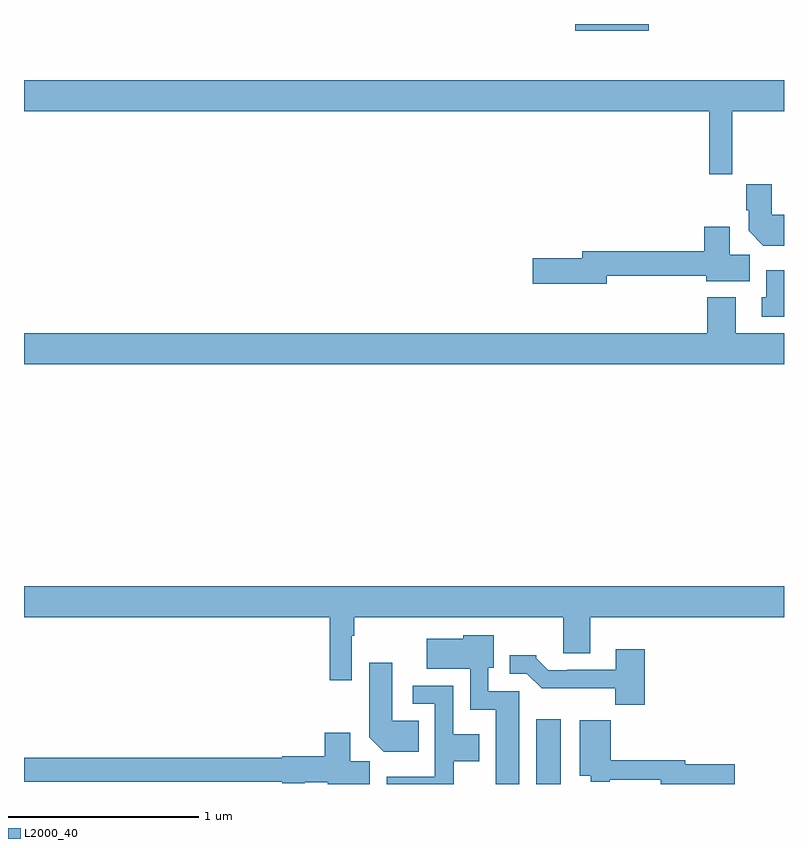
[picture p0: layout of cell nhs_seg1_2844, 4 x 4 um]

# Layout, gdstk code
import gdstk
lib = gdstk.Library(unit=1e-6, precision=1e-09)
def R(c, l, rs):  # rectangles x0, y0, x1, y1
    for r in rs: c.add(gdstk.rectangle(r[:2], r[2:], *l))
def P(c, l, *ps):  # polygons
    for p in ps: c.add(gdstk.Polygon(p, *l))
L2000_40 = (2000, 40)

nhs_seg1_2844 = lib.new_cell('nhs_seg1_2844')
R(nhs_seg1_2844, L2000_40, [(267.695,540.199,267.826,540.541), (267.9,544.163,268.288,544.199)])
P(nhs_seg1_2844, L2000_40, [(268.727,543.74),(269,543.74),(269,543.904),(265,543.904),(265,543.74),(268.606,543.74),(268.606,543.408),(268.727,543.408)],
  [(269,543.196),(268.936,543.196),(268.936,543.355),(268.802,543.355),(268.802,543.22),(268.814,543.22),(268.814,543.11),(268.892,543.032),(269,543.032)],
  [(268.066,542.874),(268.592,542.874),(268.592,542.846),(268.819,542.846),(268.819,542.984),(268.714,542.984),(268.714,543.133),(268.58,543.133),(268.58,543.002),(267.938,543.002),(267.938,542.966),(267.678,542.966),(267.678,542.831),(268.066,542.831)],
  [(269,542.902),(268.907,542.902),(268.907,542.76),(268.883,542.76),(268.883,542.658),(269,542.658)],
  [(269,542.572),(268.747,542.572),(268.747,542.761),(268.595,542.761),(268.595,542.572),(265,542.572),(265,542.408),(269,542.408)],
  [(266.724,540.98),(266.737,540.98),(266.737,541.076),(267.839,541.076),(267.839,540.886),(267.979,540.886),(267.979,541.076),(269,541.076),(269,541.24),(265,541.24),(265,541.076),(266.608,541.076),(266.608,540.744),(266.724,540.744)],
  [(267.607,540.687),(267.444,540.687),(267.444,540.81),(267.472,540.81),(267.472,540.982),(267.312,540.982),(267.312,540.964),(267.12,540.964),(267.12,540.806),(267.348,540.806),(267.348,540.59),(267.482,540.59),(267.482,540.199),(267.607,540.199)],
  [(268.268,540.907),(268.115,540.907),(268.115,540.801),(267.859,540.801),(267.859,540.798),(267.76,540.798),(267.696,540.862),(267.696,540.877),(267.557,540.877),(267.557,540.78),(267.645,540.78),(267.724,540.702),(268.113,540.702),(268.113,540.617),(268.268,540.617)],
  [(267.077,540.532),(266.938,540.532),(266.938,540.838),(266.816,540.838),(266.816,540.446),(266.894,540.368),(267.077,540.368)],
  [(267.261,540.32),(267.397,540.32),(267.397,540.46),(267.258,540.46),(267.258,540.717),(267.045,540.717),(267.045,540.621),(267.162,540.621),(267.162,540.238),(266.909,540.238),(266.909,540.199),(267.261,540.199)],
  [(268.741,540.302),(268.48,540.302),(268.48,540.323),(268.088,540.323),(268.088,540.535),(267.926,540.535),(267.926,540.242),(267.984,540.242),(267.984,540.21),(268.084,540.21),(268.084,540.222),(268.352,540.222),(268.352,540.199),(268.741,540.199)],
  [(266.821,540.32),(266.716,540.32),(266.716,540.469),(266.582,540.469),(266.582,540.346),(266.358,540.346),(266.358,540.338),(265,540.338),(265,540.21),(266.358,540.21),(266.358,540.202),(266.478,540.202),(266.478,540.209),(266.598,540.209),(266.598,540.199),(266.821,540.199)])

lib.write_gds('nhs_seg1_2844.gds')
